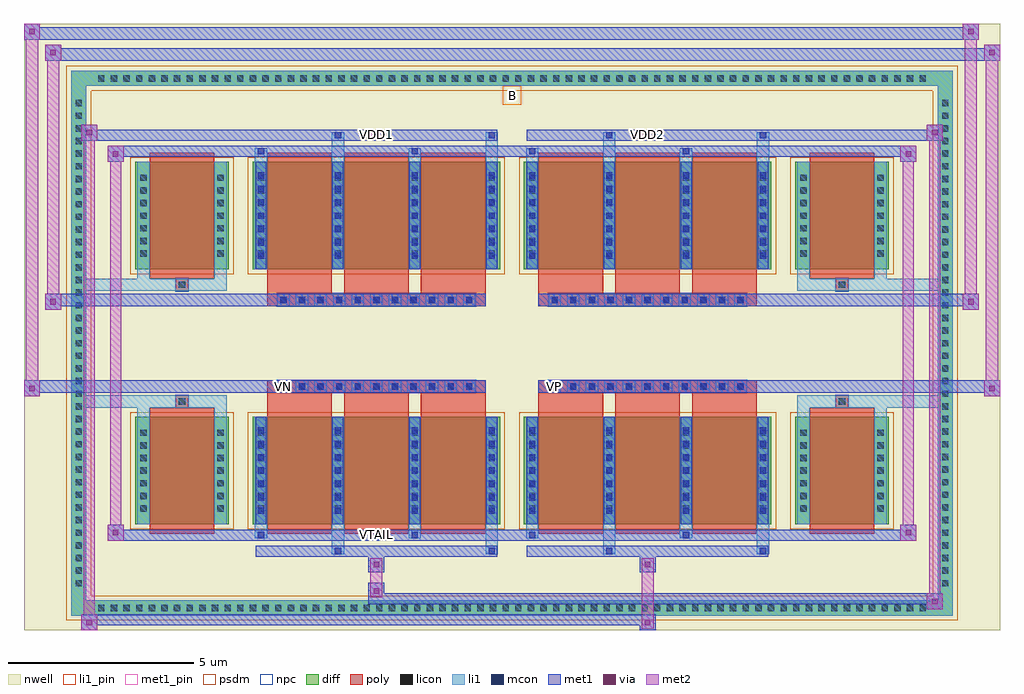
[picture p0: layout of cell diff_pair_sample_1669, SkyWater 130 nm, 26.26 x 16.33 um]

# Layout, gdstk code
import gdstk
lib = gdstk.Library(unit=1e-6, precision=5e-09)
def R(c, l, rs):  # rectangles x0, y0, x1, y1
    for r in rs: c.add(gdstk.rectangle(r[:2], r[2:], *l))
def A(c, l, x, y, w, h, nx, ny, dx, dy):  # array of equal rectangles
    R(c, l, [(x+i*dx, y+j*dy, x+i*dx+w, y+j*dy+h) for i in range(nx) for j in range(ny)])
def P(c, l, *ps):  # polygons
    for p in ps: c.add(gdstk.Polygon(p, *l))
nwell = (64, 20)
diff = (65, 20)
poly = (66, 20)
licon = (66, 44)
li1_pin = (67, 16)
li1 = (67, 20)
mcon = (67, 44)
met1_pin = (68, 16)
met1 = (68, 20)
via = (68, 44)
met2 = (69, 20)
psdm = (94, 20)
npc = (95, 20)

diff_pair_sample_1669 = lib.new_cell('diff_pair_sample_1669')
R(diff_pair_sample_1669, nwell, [(-13.13,-7.73,13.13,8.6), (-10.45,-5.92,-0.01,-0.8), (0.01,-5.92,10.45,-0.8), (-10.45,0.8,-0.01,5.92), (0.01,0.8,10.45,5.92)])
A(diff_pair_sample_1669, diff, -11.255, -7.33, 0.41, 0.41, 66, 2, 0.34, 14.25)
A(diff_pair_sample_1669, diff, -11.86, -6.665, 0.41, 0.41, 1, 39, 0, 0.34)
A(diff_pair_sample_1669, diff, 11.45, -6.665, 0.41, 0.41, 1, 39, 0, 0.34)
R(diff_pair_sample_1669, diff, [(-11.255,-7.33,11.255,-6.92), (-11.86,-6.665,-11.45,6.665), (11.45,-6.665,11.86,6.665), (-10.14,-4.875,-7.62,-1.985), (-6.98,-4.875,-0.32,-1.985), (0.32,-4.875,6.98,-1.985), (7.62,-4.875,10.14,-1.985), (-10.14,1.985,-7.62,4.875), (-6.98,1.985,-0.32,4.875), (0.32,1.985,6.98,4.875), (7.62,1.985,10.14,4.875), (-11.255,6.92,11.255,7.33)])
P(diff_pair_sample_1669, diff, [(11.86,7.33),(-11.86,7.33),(-11.86,-6.92),(-11.45,-6.92),(-11.45,6.92),(11.45,6.92),(11.45,-6.92),(-11.45,-6.92),(-11.86,-6.92),(-11.86,-7.33),(11.86,-7.33)])
A(diff_pair_sample_1669, poly, -6.59, -5.125, 1.74, 3.39, 3, 2, 2.07, 6.86)
A(diff_pair_sample_1669, poly, 0.71, -5.125, 1.74, 3.39, 3, 2, 2.07, 6.86)
A(diff_pair_sample_1669, poly, -6.59, -1.735, 1.74, 0.405, 3, 2, 2.07, 3.065)
A(diff_pair_sample_1669, poly, 0.71, -1.735, 1.74, 0.405, 3, 2, 2.07, 3.065)
A(diff_pair_sample_1669, poly, -6.315, -1.33, 0.33, 0.33, 11, 2, 0.5, 2.33)
A(diff_pair_sample_1669, poly, 0.985, -1.33, 0.33, 0.33, 11, 2, 0.5, 2.33)
R(diff_pair_sample_1669, poly, [(-9.75,-5.125,-8.01,-1.735), (8.01,-5.125,9.75,-1.735), (-9.045,-1.735,-8.715,-1.405), (-9.045,-1.735,-8.715,-1.405), (8.715,-1.735,9.045,-1.405), (8.715,-1.735,9.045,-1.405), (-6.59,-1.33,-0.71,-1), (0.71,-1.33,6.59,-1), (-6.59,1,-0.71,1.33), (0.71,1,6.59,1.33), (-9.045,1.405,-8.715,1.735), (-9.045,1.405,-8.715,1.735), (8.715,1.405,9.045,1.735), (8.715,1.405,9.045,1.735), (-9.75,1.735,-8.01,5.125), (8.01,1.735,9.75,5.125)])
A(diff_pair_sample_1669, licon, -11.135, -7.21, 0.17, 0.17, 66, 2, 0.34, 14.25)
A(diff_pair_sample_1669, licon, -11.74, -6.545, 0.17, 0.17, 1, 39, 0, 0.34)
A(diff_pair_sample_1669, licon, 11.57, -6.545, 0.17, 0.17, 1, 39, 0, 0.34)
A(diff_pair_sample_1669, licon, -10, -4.535, 0.17, 0.17, 1, 7, 0, 0.34)
A(diff_pair_sample_1669, licon, -7.93, -4.535, 0.17, 0.17, 1, 7, 0, 0.34)
A(diff_pair_sample_1669, licon, -6.84, -4.535, 0.17, 0.17, 4, 7, 2.07, 0.34)
A(diff_pair_sample_1669, licon, 0.46, -4.535, 0.17, 0.17, 4, 7, 2.07, 0.34)
A(diff_pair_sample_1669, licon, 7.76, -4.535, 0.17, 0.17, 1, 7, 0, 0.34)
A(diff_pair_sample_1669, licon, 9.83, -4.535, 0.17, 0.17, 1, 7, 0, 0.34)
A(diff_pair_sample_1669, licon, -6.235, -1.25, 0.17, 0.17, 11, 2, 0.5, 2.33)
A(diff_pair_sample_1669, licon, 1.065, -1.25, 0.17, 0.17, 11, 2, 0.5, 2.33)
A(diff_pair_sample_1669, licon, -10, 2.325, 0.17, 0.17, 1, 7, 0, 0.34)
A(diff_pair_sample_1669, licon, -7.93, 2.325, 0.17, 0.17, 1, 7, 0, 0.34)
A(diff_pair_sample_1669, licon, -6.84, 2.325, 0.17, 0.17, 4, 7, 2.07, 0.34)
A(diff_pair_sample_1669, licon, 0.46, 2.325, 0.17, 0.17, 4, 7, 2.07, 0.34)
A(diff_pair_sample_1669, licon, 7.76, 2.325, 0.17, 0.17, 1, 7, 0, 0.34)
A(diff_pair_sample_1669, licon, 9.83, 2.325, 0.17, 0.17, 1, 7, 0, 0.34)
R(diff_pair_sample_1669, licon, [(-8.965,-1.655,-8.795,-1.485), (8.795,-1.655,8.965,-1.485), (-8.965,1.485,-8.795,1.655), (8.795,1.485,8.965,1.655)])
R(diff_pair_sample_1669, li1_pin, [(-0.25,6.42,0.25,6.92)])
A(diff_pair_sample_1669, li1, -11.215, -7.29, 0.33, 0.33, 66, 2, 0.34, 14.25)
A(diff_pair_sample_1669, li1, -11.82, -6.625, 0.33, 0.33, 1, 39, 0, 0.34)
A(diff_pair_sample_1669, li1, 11.49, -6.625, 0.33, 0.33, 1, 39, 0, 0.34)
A(diff_pair_sample_1669, li1, -6.92, -4.875, 0.33, 2.89, 4, 2, 2.07, 6.86)
A(diff_pair_sample_1669, li1, 0.38, -4.875, 0.33, 2.89, 4, 2, 2.07, 6.86)
A(diff_pair_sample_1669, li1, -10.08, -4.615, 0.33, 0.33, 1, 7, 0, 0.34)
A(diff_pair_sample_1669, li1, -8.01, -4.615, 0.33, 0.33, 1, 7, 0, 0.34)
A(diff_pair_sample_1669, li1, -6.92, -4.615, 0.33, 0.33, 4, 7, 2.07, 0.34)
A(diff_pair_sample_1669, li1, 0.38, -4.615, 0.33, 0.33, 4, 7, 2.07, 0.34)
A(diff_pair_sample_1669, li1, 7.68, -4.615, 0.33, 0.33, 1, 7, 0, 0.34)
A(diff_pair_sample_1669, li1, 9.75, -4.615, 0.33, 0.33, 1, 7, 0, 0.34)
A(diff_pair_sample_1669, li1, -6.84, -4.595, 0.17, 0.17, 4, 7, 2.07, 0.36)
A(diff_pair_sample_1669, li1, -6.84, -4.595, 0.17, 2.33, 4, 2, 2.07, 6.86)
A(diff_pair_sample_1669, li1, 0.46, -4.595, 0.17, 0.17, 4, 7, 2.07, 0.36)
A(diff_pair_sample_1669, li1, 0.46, -4.595, 0.17, 2.33, 4, 2, 2.07, 6.86)
A(diff_pair_sample_1669, li1, -6.315, -1.33, 0.33, 0.33, 11, 2, 0.5, 2.33)
A(diff_pair_sample_1669, li1, 0.985, -1.33, 0.33, 0.33, 11, 2, 0.5, 2.33)
A(diff_pair_sample_1669, li1, -10.08, 2.245, 0.33, 0.33, 1, 7, 0, 0.34)
A(diff_pair_sample_1669, li1, -8.01, 2.245, 0.33, 0.33, 1, 7, 0, 0.34)
A(diff_pair_sample_1669, li1, -6.92, 2.245, 0.33, 0.33, 4, 7, 2.07, 0.34)
A(diff_pair_sample_1669, li1, 0.38, 2.245, 0.33, 0.33, 4, 7, 2.07, 0.34)
A(diff_pair_sample_1669, li1, 7.68, 2.245, 0.33, 0.33, 1, 7, 0, 0.34)
A(diff_pair_sample_1669, li1, 9.75, 2.245, 0.33, 0.33, 1, 7, 0, 0.34)
A(diff_pair_sample_1669, li1, -6.84, 2.265, 0.17, 0.17, 4, 7, 2.07, 0.36)
A(diff_pair_sample_1669, li1, 0.46, 2.265, 0.17, 0.17, 4, 7, 2.07, 0.36)
R(diff_pair_sample_1669, li1, [(-11.86,-7.33,-11.45,-6.92), (-11.86,-7.33,-11.45,-6.92), (-11.45,-7.33,11.45,-6.92), (11.45,-7.33,11.86,-6.92), (11.45,-7.33,11.86,-6.92), (-11.86,-6.92,-11.45,6.92), (11.45,-6.92,11.86,6.92), (-4.85,-5.68,-4.52,-4.875), (-4.77,-5.68,-4.6,-5.51), (-0.71,-5.68,-0.38,-4.875), (-0.63,-5.68,-0.46,-5.51), (2.45,-5.68,2.78,-4.875), (2.53,-5.68,2.7,-5.51), (6.59,-5.68,6.92,-4.875), (6.67,-5.68,6.84,-5.51), (-6.92,-5.25,-6.59,-4.875), (-6.84,-5.25,-6.67,-5.08), (-2.78,-5.25,-2.45,-4.875), (-2.7,-5.25,-2.53,-5.08), (0.38,-5.25,0.71,-4.875), (0.46,-5.25,0.63,-5.08), (4.52,-5.25,4.85,-4.875), (4.6,-5.25,4.77,-5.08), (-10.08,-4.875,-9.75,-1.985), (-8.01,-4.875,-7.68,-1.985), (7.68,-4.875,8.01,-1.985), (9.75,-4.875,10.08,-1.985), (-10.08,-1.985,-9.75,-1.405), (-8.01,-1.985,-7.68,-1.405), (7.68,-1.985,8.01,-1.405), (9.75,-1.985,10.08,-1.405), (-11.86,-1.735,-9.045,-1.405), (-10.08,-1.735,-9.045,-1.405), (-9.045,-1.735,-8.715,-1.405), (-8.715,-1.735,-7.68,-1.405), (7.68,-1.735,8.715,-1.405), (8.715,-1.735,9.045,-1.405), (8.715,-1.735,11.86,-1.405), (9.045,-1.735,10.08,-1.405), (-11.86,1.405,-9.045,1.735), (-10.08,1.405,-9.045,1.735), (-10.08,1.405,-9.75,1.985), (-9.045,1.405,-8.715,1.735), (-8.715,1.405,-7.68,1.735), (-8.01,1.405,-7.68,1.985), (7.68,1.405,8.715,1.735), (7.68,1.405,8.01,1.985), (8.715,1.405,9.045,1.735), (8.715,1.405,11.86,1.735), (9.045,1.405,10.08,1.735), (9.75,1.405,10.08,1.985), (-10.08,1.985,-9.75,4.875), (-8.01,1.985,-7.68,4.875), (7.68,1.985,8.01,4.875), (9.75,1.985,10.08,4.875), (-6.92,4.875,-6.59,5.25), (-4.85,4.875,-4.52,5.68), (-2.78,4.875,-2.45,5.25), (-0.71,4.875,-0.38,5.68), (0.38,4.875,0.71,5.25), (2.45,4.875,2.78,5.68), (4.52,4.875,4.85,5.25), (6.59,4.875,6.92,5.68), (-6.84,5.08,-6.67,5.25), (-2.7,5.08,-2.53,5.25), (0.46,5.08,0.63,5.25), (4.6,5.08,4.77,5.25), (-4.77,5.51,-4.6,5.68), (-0.63,5.51,-0.46,5.68), (2.53,5.51,2.7,5.68), (6.67,5.51,6.84,5.68), (-11.86,6.92,-11.45,7.33), (-11.86,6.92,-11.45,7.33), (-11.45,6.92,11.45,7.33), (11.45,6.92,11.86,7.33), (11.45,6.92,11.86,7.33)])
A(diff_pair_sample_1669, mcon, -6.84, -4.595, 0.17, 0.17, 4, 7, 2.07, 0.36)
A(diff_pair_sample_1669, mcon, 0.46, -4.595, 0.17, 0.17, 4, 7, 2.07, 0.36)
A(diff_pair_sample_1669, mcon, -6.235, -1.25, 0.17, 0.17, 11, 2, 0.5, 2.33)
A(diff_pair_sample_1669, mcon, 1.065, -1.25, 0.17, 0.17, 11, 2, 0.5, 2.33)
A(diff_pair_sample_1669, mcon, -6.84, 2.265, 0.17, 0.17, 4, 7, 2.07, 0.36)
A(diff_pair_sample_1669, mcon, 0.46, 2.265, 0.17, 0.17, 4, 7, 2.07, 0.36)
R(diff_pair_sample_1669, mcon, [(-4.77,-5.68,-4.6,-5.51), (-0.63,-5.68,-0.46,-5.51), (2.53,-5.68,2.7,-5.51), (6.67,-5.68,6.84,-5.51), (-6.84,-5.25,-6.67,-5.08), (-2.7,-5.25,-2.53,-5.08), (0.46,-5.25,0.63,-5.08), (4.6,-5.25,4.77,-5.08), (-6.84,5.08,-6.67,5.25), (-2.7,5.08,-2.53,5.25), (0.46,5.08,0.63,5.25), (4.6,5.08,4.77,5.25), (-4.77,5.51,-4.6,5.68), (-0.63,5.51,-0.46,5.68), (2.53,5.51,2.7,5.68), (6.67,5.51,6.84,5.68)])
R(diff_pair_sample_1669, met1_pin, [(-3.785,-5.29,-3.515,-5.02), (-6.285,-1.29,-6.015,-1.02), (1.015,-1.29,1.285,-1.02), (-3.785,5.47,-3.515,5.74), (3.515,5.47,3.785,5.74)])
A(diff_pair_sample_1669, met1, -6.9, -4.875, 0.29, 2.89, 4, 2, 2.07, 6.86)
A(diff_pair_sample_1669, met1, 0.4, -4.875, 0.29, 2.89, 4, 2, 2.07, 6.86)
A(diff_pair_sample_1669, met1, -6.9, -4.655, 0.29, 0.29, 4, 7, 2.07, 0.36)
A(diff_pair_sample_1669, met1, 0.4, -4.655, 0.29, 0.29, 4, 7, 2.07, 0.36)
A(diff_pair_sample_1669, met1, -6.295, -1.31, 0.29, 0.29, 11, 2, 0.5, 2.33)
A(diff_pair_sample_1669, met1, 1.005, -1.31, 0.29, 0.29, 11, 2, 0.5, 2.33)
A(diff_pair_sample_1669, met1, -6.9, 2.205, 0.29, 0.29, 4, 7, 2.07, 0.36)
A(diff_pair_sample_1669, met1, 0.4, 2.205, 0.29, 0.29, 4, 7, 2.07, 0.36)
R(diff_pair_sample_1669, met1, [(-11.59,-7.73,-11.16,-7.3), (3.435,-7.73,3.865,-7.3), (-11.59,-7.59,3.865,-7.3), (11.16,-7.16,11.59,-6.73), (-3.865,-7.02,11.59,-6.73), (-3.865,-6.88,-3.435,-6.45), (-3.865,-6.17,-3.435,-5.74), (3.435,-6.17,3.865,-5.74), (-6.9,-5.74,-0.4,-5.45), (-4.83,-5.74,-4.54,-5.45), (-0.69,-5.74,-0.4,-5.45), (0.4,-5.74,6.9,-5.45), (2.47,-5.74,2.76,-5.45), (6.61,-5.74,6.9,-5.45), (-10.88,-5.31,-10.45,-4.88), (-10.88,-5.31,-6.9,-5.02), (-6.9,-5.31,-6.61,-5.02), (-6.9,-5.31,-0.4,-5.02), (-2.76,-5.31,-2.47,-5.02), (-0.4,-5.31,0.4,-5.02), (0.4,-5.31,0.69,-5.02), (0.4,-5.31,6.9,-5.02), (4.54,-5.31,4.83,-5.02), (6.9,-5.31,10.88,-5.02), (10.45,-5.31,10.88,-4.88), (-13.13,-1.43,-12.7,-1), (12.7,-1.43,13.13,-1), (-13.13,-1.33,-0.71,-1), (-6.59,-1.33,-0.71,-1), (0.71,-1.33,6.59,-1), (0.71,-1.33,13.13,-1), (-12.56,0.9,-12.13,1.33), (12.13,0.9,12.56,1.33), (-12.56,1,-6.59,1.33), (-6.59,1,-0.71,1.33), (0.71,1,6.59,1.33), (6.59,1,12.56,1.33), (-10.88,4.88,-10.45,5.31), (10.45,4.88,10.88,5.31), (-10.88,5.02,-6.9,5.31), (-6.9,5.02,-6.61,5.31), (-6.9,5.02,-0.4,5.31), (-2.76,5.02,-2.47,5.31), (-0.4,5.02,0.4,5.31), (0.4,5.02,0.69,5.31), (0.4,5.02,6.9,5.31), (4.54,5.02,4.83,5.31), (6.9,5.02,10.88,5.31), (-11.59,5.45,-11.16,5.88), (-11.59,5.45,-6.9,5.74), (-6.9,5.45,-0.4,5.74), (-4.83,5.45,-4.54,5.74), (-0.69,5.45,-0.4,5.74), (0.4,5.45,6.9,5.74), (2.47,5.45,2.76,5.74), (6.61,5.45,6.9,5.74), (6.9,5.45,11.59,5.74), (11.16,5.45,11.59,5.88), (-12.56,7.6,-12.13,8.03), (-12.56,7.6,-10.45,7.93), (-10.45,7.6,10.45,7.93), (10.45,7.6,13.13,7.93), (12.7,7.6,13.13,8.03), (-13.13,8.17,-12.7,8.6), (-13.13,8.17,-10.45,8.5), (-10.45,8.17,10.45,8.5), (10.45,8.17,12.56,8.5), (12.13,8.17,12.56,8.6)])
R(diff_pair_sample_1669, via, [(-11.45,-7.59,-11.3,-7.44), (3.575,-7.59,3.725,-7.44), (11.3,-7.02,11.45,-6.87), (-3.725,-6.74,-3.575,-6.59), (-3.725,-6.03,-3.575,-5.88), (3.575,-6.03,3.725,-5.88), (-10.74,-5.17,-10.59,-5.02), (10.59,-5.17,10.74,-5.02), (-12.99,-1.29,-12.84,-1.14), (12.84,-1.29,12.99,-1.14), (-12.42,1.04,-12.27,1.19), (12.27,1.04,12.42,1.19), (-10.74,5.02,-10.59,5.17), (10.59,5.02,10.74,5.17), (-11.45,5.59,-11.3,5.74), (11.3,5.59,11.45,5.74), (-12.42,7.74,-12.27,7.89), (12.84,7.74,12.99,7.89), (-12.99,8.31,-12.84,8.46), (12.27,8.31,12.42,8.46)])
R(diff_pair_sample_1669, met2, [(-11.59,-7.73,-11.16,-7.3), (-11.52,-7.73,-11.23,5.88), (-11.23,-7.73,-11.16,-7.3), (-11.54,-7.68,-11.21,-7.35), (3.485,-7.68,3.815,-7.35), (3.485,-7.35,3.815,-6.12), (11.16,-7.16,11.59,-6.73), (11.23,-7.16,11.52,5.88), (11.52,-7.16,11.59,-6.73), (11.21,-7.11,11.54,-6.78), (-3.815,-6.83,-3.485,-6.5), (-3.815,-6.5,-3.485,-6.12), (-3.815,-6.12,-3.485,-5.79), (3.485,-6.12,3.815,-5.79), (-10.88,-5.31,-10.45,-4.88), (-10.81,-5.31,-10.52,5.31), (-10.52,-5.31,-10.45,-4.88), (10.45,-5.31,10.88,-4.88), (10.52,-5.31,10.81,5.31), (10.81,-5.31,10.88,-4.88), (-10.83,-5.26,-10.5,-4.93), (10.5,-5.26,10.83,-4.93), (-13.13,-1.43,-12.7,-1), (-13.08,-1.43,-12.75,8.6), (-12.75,-1.43,-12.7,-1), (12.7,-1.43,13.13,-1), (12.75,-1.43,13.08,8.03), (13.08,-1.43,13.13,-1), (-13.08,-1.38,-12.75,-1.05), (12.75,-1.38,13.08,-1.05), (-12.56,0.9,-12.13,1.33), (-12.51,0.9,-12.18,8.03), (-12.18,0.9,-12.13,1.33), (12.13,0.9,12.56,1.33), (12.18,0.9,12.51,8.6), (12.51,0.9,12.56,1.33), (-12.51,0.95,-12.18,1.28), (12.18,0.95,12.51,1.28), (-10.88,4.88,-10.45,5.31), (-10.52,4.88,-10.45,5.31), (10.45,4.88,10.88,5.31), (10.81,4.88,10.88,5.31), (-10.83,4.93,-10.5,5.26), (10.5,4.93,10.83,5.26), (-11.59,5.45,-11.16,5.88), (-11.23,5.45,-11.16,5.88), (11.16,5.45,11.59,5.88), (11.52,5.45,11.59,5.88), (-11.54,5.5,-11.21,5.83), (11.21,5.5,11.54,5.83), (-12.56,7.6,-12.13,8.03), (-12.18,7.6,-12.13,8.03), (12.7,7.6,13.13,8.03), (13.08,7.6,13.13,8.03), (-12.51,7.65,-12.18,7.98), (12.75,7.65,13.08,7.98), (-13.13,8.17,-12.7,8.6), (-12.75,8.17,-12.7,8.6), (12.13,8.17,12.56,8.6), (12.51,8.17,12.56,8.6), (-13.08,8.22,-12.75,8.55), (12.18,8.22,12.51,8.55)])
R(diff_pair_sample_1669, psdm, [(-10.27,-5.005,-7.49,-1.855), (-7.11,-5.005,-0.19,-1.855), (0.19,-5.005,7.11,-1.855), (7.49,-5.005,10.27,-1.855), (-10.27,1.855,-7.49,5.005), (-7.11,1.855,-0.19,5.005), (0.19,1.855,7.11,5.005), (7.49,1.855,10.27,5.005)])
P(diff_pair_sample_1669, psdm, [(11.99,7.46),(-11.99,7.46),(-11.99,-6.79),(-11.32,-6.79),(-11.32,6.79),(11.32,6.79),(11.32,-6.79),(-11.32,-6.79),(-11.99,-6.79),(-11.99,-7.46),(11.99,-7.46)])
A(diff_pair_sample_1669, npc, -6.335, -1.35, 0.37, 0.37, 11, 2, 0.5, 2.33)
A(diff_pair_sample_1669, npc, 0.965, -1.35, 0.37, 0.37, 11, 2, 0.5, 2.33)
R(diff_pair_sample_1669, npc, [(-9.065,-1.755,-8.695,-1.385), (8.695,-1.755,9.065,-1.385), (-6.335,-1.35,-5.465,-0.98), (-6.335,-1.35,-5.465,-0.98), (-5.835,-1.35,-4.965,-0.98), (-5.835,-1.35,-4.965,-0.98), (-5.335,-1.35,-4.465,-0.98), (-5.335,-1.35,-4.465,-0.98), (-4.835,-1.35,-3.965,-0.98), (-4.835,-1.35,-3.965,-0.98), (-4.335,-1.35,-3.465,-0.98), (-4.335,-1.35,-3.465,-0.98), (-3.835,-1.35,-2.965,-0.98), (-3.835,-1.35,-2.965,-0.98), (-3.335,-1.35,-2.465,-0.98), (-3.335,-1.35,-2.465,-0.98), (-2.835,-1.35,-1.965,-0.98), (-2.835,-1.35,-1.965,-0.98), (-2.335,-1.35,-1.465,-0.98), (-2.335,-1.35,-1.465,-0.98), (-1.835,-1.35,-0.965,-0.98), (-1.835,-1.35,-0.965,-0.98), (0.965,-1.35,1.835,-0.98), (0.965,-1.35,1.835,-0.98), (1.465,-1.35,2.335,-0.98), (1.465,-1.35,2.335,-0.98), (1.965,-1.35,2.835,-0.98), (1.965,-1.35,2.835,-0.98), (2.465,-1.35,3.335,-0.98), (2.465,-1.35,3.335,-0.98), (2.965,-1.35,3.835,-0.98), (2.965,-1.35,3.835,-0.98), (3.465,-1.35,4.335,-0.98), (3.465,-1.35,4.335,-0.98), (3.965,-1.35,4.835,-0.98), (3.965,-1.35,4.835,-0.98), (4.465,-1.35,5.335,-0.98), (4.465,-1.35,5.335,-0.98), (4.965,-1.35,5.835,-0.98), (4.965,-1.35,5.835,-0.98), (5.465,-1.35,6.335,-0.98), (5.465,-1.35,6.335,-0.98), (-6.335,0.98,-5.465,1.35), (-6.335,0.98,-5.465,1.35), (-5.835,0.98,-4.965,1.35), (-5.835,0.98,-4.965,1.35), (-5.335,0.98,-4.465,1.35), (-5.335,0.98,-4.465,1.35), (-4.835,0.98,-3.965,1.35), (-4.835,0.98,-3.965,1.35), (-4.335,0.98,-3.465,1.35), (-4.335,0.98,-3.465,1.35), (-3.835,0.98,-2.965,1.35), (-3.835,0.98,-2.965,1.35), (-3.335,0.98,-2.465,1.35), (-3.335,0.98,-2.465,1.35), (-2.835,0.98,-1.965,1.35), (-2.835,0.98,-1.965,1.35), (-2.335,0.98,-1.465,1.35), (-2.335,0.98,-1.465,1.35), (-1.835,0.98,-0.965,1.35), (-1.835,0.98,-0.965,1.35), (0.965,0.98,1.835,1.35), (0.965,0.98,1.835,1.35), (1.465,0.98,2.335,1.35), (1.465,0.98,2.335,1.35), (1.965,0.98,2.835,1.35), (1.965,0.98,2.835,1.35), (2.465,0.98,3.335,1.35), (2.465,0.98,3.335,1.35), (2.965,0.98,3.835,1.35), (2.965,0.98,3.835,1.35), (3.465,0.98,4.335,1.35), (3.465,0.98,4.335,1.35), (3.965,0.98,4.835,1.35), (3.965,0.98,4.835,1.35), (4.465,0.98,5.335,1.35), (4.465,0.98,5.335,1.35), (4.965,0.98,5.835,1.35), (4.965,0.98,5.835,1.35), (5.465,0.98,6.335,1.35), (5.465,0.98,6.335,1.35), (-9.065,1.385,-8.695,1.755), (8.695,1.385,9.065,1.755)])
diff_pair_sample_1669.add(gdstk.Label('VTAIL', (-3.65,-5.155), layer=68, texttype=5))
diff_pair_sample_1669.add(gdstk.Label('VN', (-6.15,-1.155), layer=68, texttype=5))
diff_pair_sample_1669.add(gdstk.Label('VP', (1.15,-1.155), layer=68, texttype=5))
diff_pair_sample_1669.add(gdstk.Label('B', (0,6.67), layer=67, texttype=5))
diff_pair_sample_1669.add(gdstk.Label('VDD2', (3.65,5.605), layer=68, texttype=5))
diff_pair_sample_1669.add(gdstk.Label('VDD1', (-3.65,5.605), layer=68, texttype=5))

lib.write_gds('diff_pair_sample_1669.gds')
